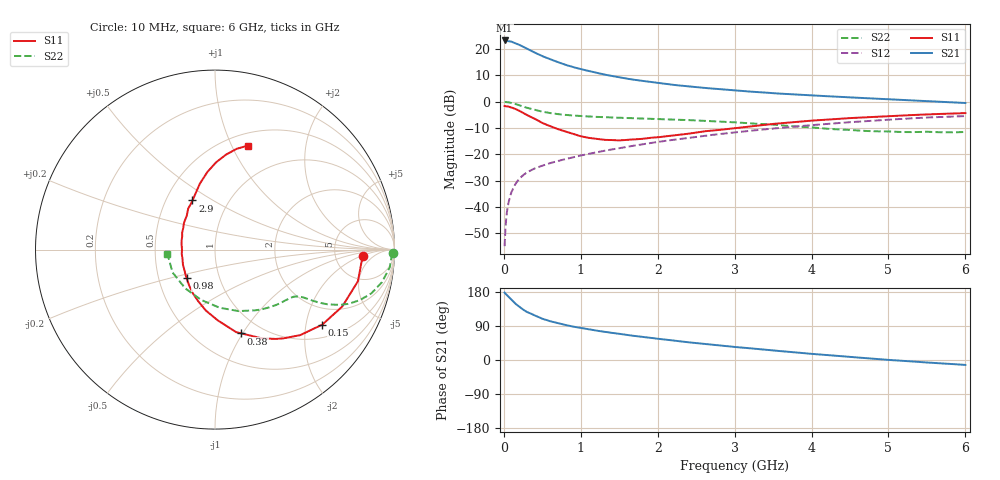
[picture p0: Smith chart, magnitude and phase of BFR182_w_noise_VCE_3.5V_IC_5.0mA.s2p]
! Infineon Technologies  Discrete & RF Semiconductors
! BFR182
! VCE =  3.5 V,  IC =  5.0 mA
! Common Emitter S-Parameters:  Nov 2015
# GHz  S  MA  R  50
!  f  S11  S21  S12  S22
! GHz  MAG  ANG  MAG  ANG  MAG  ANG  MAG  ANG
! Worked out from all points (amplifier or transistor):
!   210 points, 10 MHz to 6 GHz, reference 50 ohm
!   highest |S21| = 23.3 dB at 10 MHz (marker M1)
!   |S21| within 3 dB of that: start of sweep to 292.9 MHz
!   unconditionally stable (mu >= 1): 1.078 GHz to 2.852 GHz
!   at 185 MHz: K = 0.33, MSG = 25.8 dB, |S12| = -29.8 dB
!   at 1.52 GHz: K = 1.06, MAG = 11.9 dB, |S12| = -17.5 dB
!   at 6 GHz: K = 0.89, MSG = 2.5 dB, |S12| = -5.5 dB
!   lowest NFmin = 1.20 dB at 450 MHz
!   S11 on the Smith chart (normalised r, x): 10 MHz: 10, -2; 150 MHz: 1.39, -2.48; 380 MHz: 0.80, -0.99; 980 MHz: 0.69, -0.23; 2.9 GHz: 0.68, +0.41; 6 GHz: 0.63, +1.15
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0.01  0.8245 -2.6  14.55 177.8  0.0018 87.6  0.9903 -1.2
0.025  0.8176 -6.2  14.3 174.4  0.0048 87.7  0.9831 -3.0
0.04  0.8152 -10.0  14.24 171.3  0.008 85.3  0.9802 -4.7
0.1  0.7767 -24.1  13.82 159.0  0.0192 78.5  0.9484 -11.0
0.15  0.7292 -35.0  12.87 148.7  0.0272 72.3  0.905 -15.6
0.2  0.6728 -45.1  12.02 140.6  0.0343 68.9  0.8579 -19.0
0.26  0.6018 -55.8  10.94 131.8  0.0411 65.0  0.8006 -22.2
0.3  0.5589 -62.2  10.18 126.8  0.0453 64.1  0.7659 -23.7
0.38  0.4894 -72.6  8.879 119.5  0.0521 61.5  0.7128 -25.4
0.5  0.3949 -87.7  7.326 108.8  0.0608 59.7  0.6468 -27.1
0.6  0.3435 -98.5  6.413 102.4  0.0679 60.1  0.6071 -27.7
0.7  0.3024 -108.0  5.657 97.1  0.0744 60.1  0.5796 -28.1
0.8  0.2719 -117.3  5.021 92.4  0.0811 60.2  0.5607 -28.4
0.98  0.2246 -134.8  4.232 85.2  0.0936 61.1  0.5368 -29.2
1.02  0.2171 -138.8  4.093 83.8  0.0963 61.3  0.5321 -29.4
1.4  0.187 -172.7  3.084 71.8  0.1234 62.4  0.5011 -32.3
2.02  0.2122 146.9  2.251 55.6  0.1734 61.1  0.4694 -39.5
2.9  0.3012 114.6  1.684 36.6  0.2514 56.0  0.4127 -54.5
3.1  0.3249 110.1  1.595 32.7  0.2701 54.3  0.3962 -58.9
4.1  0.4461 94.0  1.294 14.7  0.3679 44.4  0.3149 -89.2
5.1  0.5398 82.3  1.096 -1.0  0.4642 32.2  0.2676 -132.3
6  0.6069 72.6  0.944 -13.0  0.5337 19.4  0.2659 -174.8
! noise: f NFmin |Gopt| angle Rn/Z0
0.45  1.2  0.27  37  0.3
0.9  1.3  0.25  75  0.23
1.8  1.9  0.21  145  0.2
